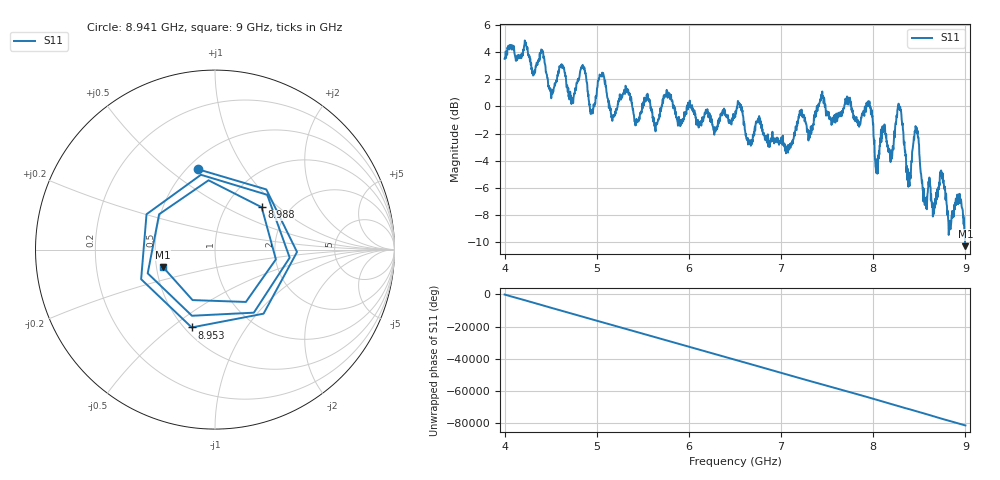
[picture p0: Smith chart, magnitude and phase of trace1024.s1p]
! Created with skrf 1.8.0 (http://scikit-rf.org).
# Hz S RI R 50.0
!freq ReS11 ImS11
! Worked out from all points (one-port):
!   1601 points, 4 GHz to 9 GHz, reference 50 ohm
!   lowest |S11| = -10.3 dB at 9 GHz (marker M1), VSWR 1.88, Z = 27.1 - j5.77 ohm
!   |S11| at or under -10 dB: 8.996157 GHz to end of sweep
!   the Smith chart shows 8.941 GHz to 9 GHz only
!   S11 on the Smith chart (normalised r, x): 8.941 GHz: 0.56, +0.64; 8.953 GHz: 0.54, -0.59; 8.988 GHz: 1.45, +0.78; 9 GHz: 0.54, -0.12
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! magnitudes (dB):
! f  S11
! 4 GHz  3.5
! 4.406 GHz  4.2
! 4.509 GHz  0.8
! 4.625 GHz  2.9
! 4.725 GHz  0.2
! 4.856 GHz  2.9
! 4.944 GHz  -0.3
! 5.053 GHz  2.3
! 5.169 GHz  -1.1
! 5.25 GHz  0.9
! 5.875 GHz  -1.1
! 6.5 GHz  -0.7
! 7.125 GHz  -2.5
! 7.444 GHz  0.9
! 7.75 GHz  0.5
! 7.959 GHz  0.4
! 8.041 GHz  -3.9
! 8.2 GHz  -3.9
! 8.288 GHz  -0.3
! 8.375 GHz  -5.4
! 8.466 GHz  -1.5
! 8.562 GHz  -6.8
! 8.741 GHz  -5.1
! 8.828 GHz  -9.0
! 8.941 GHz  -6.8
! 8.953 GHz  -6.9
! 8.988 GHz  -9.1
! 9 GHz  -10.3
